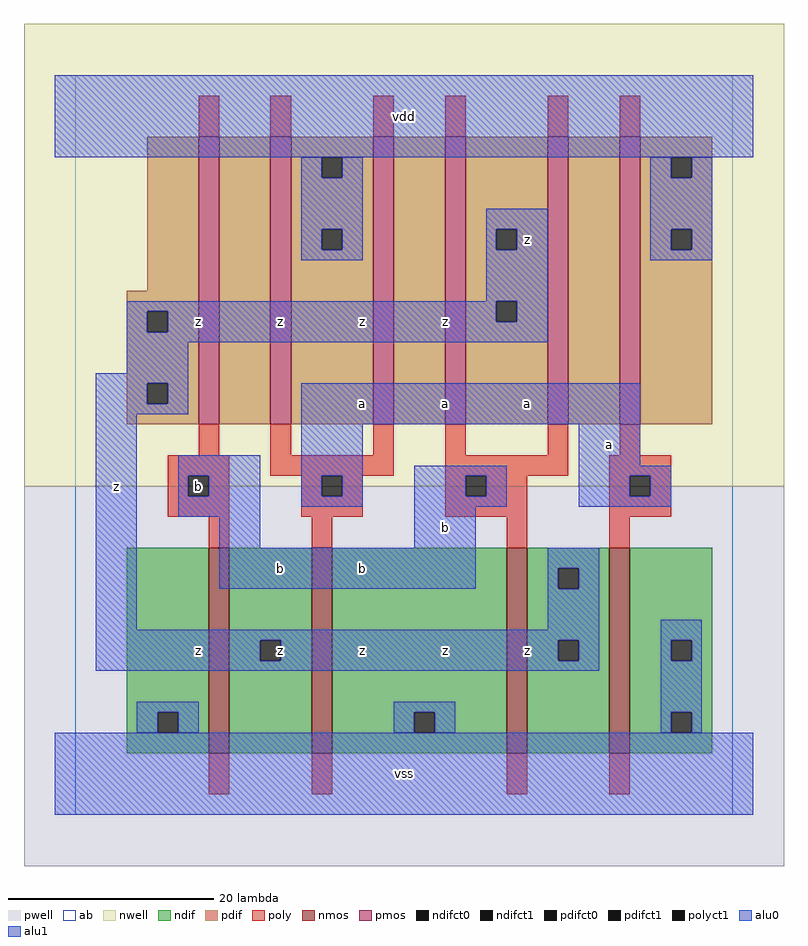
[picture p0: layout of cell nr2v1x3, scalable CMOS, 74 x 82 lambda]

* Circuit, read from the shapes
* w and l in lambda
.subckt nr2v1x3 a b vdd vss z
M1 z b vss VSUBS nfet w=20 l=2 m=2
M2 vss a z VSUBS nfet w=20 l=2 m=2
M3 n1 b z n2 pfet w=28 l=2
M4 vdd a n1 n2 pfet w=28 l=2
M5 n3 a vdd n2 pfet w=28 l=2
M6 z b n3 n2 pfet w=28 l=2
M7 n4 b z n2 pfet w=28 l=2
M8 vdd a n4 n2 pfet w=28 l=2
.ends

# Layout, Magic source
magic
tech scmos
<< ab >>
rect 0 0 64 72
<< nwell >>
rect -5 32 69 77
<< pwell >>
rect -5 -5 69 32
<< poly >>
rect 12 66 14 70
rect 19 66 21 70
rect 29 66 31 70
rect 36 66 38 70
rect 46 66 48 70
rect 53 66 55 70
rect 12 35 14 38
rect 19 35 21 38
rect 29 35 31 38
rect 9 33 15 35
rect 19 33 31 35
rect 36 35 38 38
rect 46 35 48 38
rect 53 35 55 38
rect 36 33 48 35
rect 52 33 58 35
rect 9 31 11 33
rect 13 31 15 33
rect 9 29 15 31
rect 22 31 24 33
rect 26 31 28 33
rect 22 29 28 31
rect 36 31 38 33
rect 40 31 44 33
rect 36 29 44 31
rect 13 26 15 29
rect 23 26 25 29
rect 42 26 44 29
rect 52 31 54 33
rect 56 31 58 33
rect 52 29 58 31
rect 52 26 54 29
rect 13 2 15 6
rect 23 2 25 6
rect 42 2 44 6
rect 52 2 54 6
<< ndif >>
rect 5 10 13 26
rect 5 8 8 10
rect 10 8 13 10
rect 5 6 13 8
rect 15 17 23 26
rect 15 15 18 17
rect 20 15 23 17
rect 15 6 23 15
rect 25 10 42 26
rect 25 8 33 10
rect 35 8 42 10
rect 25 6 42 8
rect 44 24 52 26
rect 44 22 47 24
rect 49 22 52 24
rect 44 17 52 22
rect 44 15 47 17
rect 49 15 52 17
rect 44 6 52 15
rect 54 17 62 26
rect 54 15 58 17
rect 60 15 62 17
rect 54 10 62 15
rect 54 8 58 10
rect 60 8 62 10
rect 54 6 62 8
<< pdif >>
rect 7 51 12 66
rect 5 49 12 51
rect 5 47 7 49
rect 9 47 12 49
rect 5 42 12 47
rect 5 40 7 42
rect 9 40 12 42
rect 5 38 12 40
rect 14 38 19 66
rect 21 64 29 66
rect 21 62 24 64
rect 26 62 29 64
rect 21 57 29 62
rect 21 55 24 57
rect 26 55 29 57
rect 21 38 29 55
rect 31 38 36 66
rect 38 57 46 66
rect 38 55 41 57
rect 43 55 46 57
rect 38 50 46 55
rect 38 48 41 50
rect 43 48 46 50
rect 38 38 46 48
rect 48 38 53 66
rect 55 64 62 66
rect 55 62 58 64
rect 60 62 62 64
rect 55 57 62 62
rect 55 55 58 57
rect 60 55 62 57
rect 55 38 62 55
<< alu1 >>
rect -2 64 66 72
rect 40 57 46 59
rect 40 55 41 57
rect 43 55 46 57
rect 40 50 46 55
rect 5 49 41 50
rect 5 47 7 49
rect 9 48 41 49
rect 43 48 46 50
rect 9 47 46 48
rect 5 46 46 47
rect 5 43 11 46
rect 2 42 11 43
rect 2 40 7 42
rect 9 40 11 42
rect 2 39 11 40
rect 2 18 6 39
rect 22 38 55 42
rect 10 33 18 35
rect 10 31 11 33
rect 13 31 18 33
rect 10 29 18 31
rect 22 33 28 38
rect 49 34 55 38
rect 22 31 24 33
rect 26 31 28 33
rect 22 30 28 31
rect 33 33 42 34
rect 33 31 38 33
rect 40 31 42 33
rect 33 30 42 31
rect 49 33 58 34
rect 49 31 54 33
rect 56 31 58 33
rect 49 30 58 31
rect 14 26 18 29
rect 33 26 39 30
rect 14 22 39 26
rect 46 24 51 26
rect 46 22 47 24
rect 49 22 51 24
rect 46 18 51 22
rect 2 17 51 18
rect 2 15 18 17
rect 20 15 47 17
rect 49 15 51 17
rect 2 14 51 15
rect -2 0 66 8
<< nmos >>
rect 13 6 15 26
rect 23 6 25 26
rect 42 6 44 26
rect 52 6 54 26
<< pmos >>
rect 12 38 14 66
rect 19 38 21 66
rect 29 38 31 66
rect 36 38 38 66
rect 46 38 48 66
rect 53 38 55 66
<< polyct1 >>
rect 11 31 13 33
rect 24 31 26 33
rect 38 31 40 33
rect 54 31 56 33
<< ndifct0 >>
rect 8 8 10 10
rect 33 8 35 10
rect 58 15 60 17
rect 58 8 60 10
<< ndifct1 >>
rect 18 15 20 17
rect 47 22 49 24
rect 47 15 49 17
<< pdifct0 >>
rect 24 62 26 64
rect 24 55 26 57
rect 58 62 60 64
rect 58 55 60 57
<< pdifct1 >>
rect 7 47 9 49
rect 7 40 9 42
rect 41 55 43 57
rect 41 48 43 50
<< alu0 >>
rect 22 62 24 64
rect 26 62 28 64
rect 22 57 28 62
rect 56 62 58 64
rect 60 62 62 64
rect 22 55 24 57
rect 26 55 28 57
rect 22 54 28 55
rect 56 57 62 62
rect 56 55 58 57
rect 60 55 62 57
rect 56 54 62 55
rect 57 17 61 19
rect 57 15 58 17
rect 60 15 61 17
rect 6 10 12 11
rect 6 8 8 10
rect 10 8 12 10
rect 31 10 37 11
rect 31 8 33 10
rect 35 8 37 10
rect 57 10 61 15
rect 57 8 58 10
rect 60 8 61 10
<< labels >>
rlabel alu1 12 16 12 16 6 z
rlabel polyct1 12 32 12 32 6 b
rlabel alu1 4 32 4 32 6 z
rlabel alu1 12 48 12 48 6 z
rlabel alu1 20 16 20 16 6 z
rlabel alu1 28 16 28 16 6 z
rlabel alu1 28 24 28 24 6 b
rlabel alu1 20 24 20 24 6 b
rlabel alu1 28 40 28 40 6 a
rlabel alu1 28 48 28 48 6 z
rlabel alu1 20 48 20 48 6 z
rlabel alu1 32 4 32 4 6 vss
rlabel alu1 44 16 44 16 6 z
rlabel alu1 36 16 36 16 6 z
rlabel alu1 36 28 36 28 6 b
rlabel alu1 44 40 44 40 6 a
rlabel alu1 36 40 36 40 6 a
rlabel alu1 36 48 36 48 6 z
rlabel alu1 44 56 44 56 6 z
rlabel alu1 32 68 32 68 6 vdd
rlabel alu1 52 36 52 36 6 a
<< end >>
